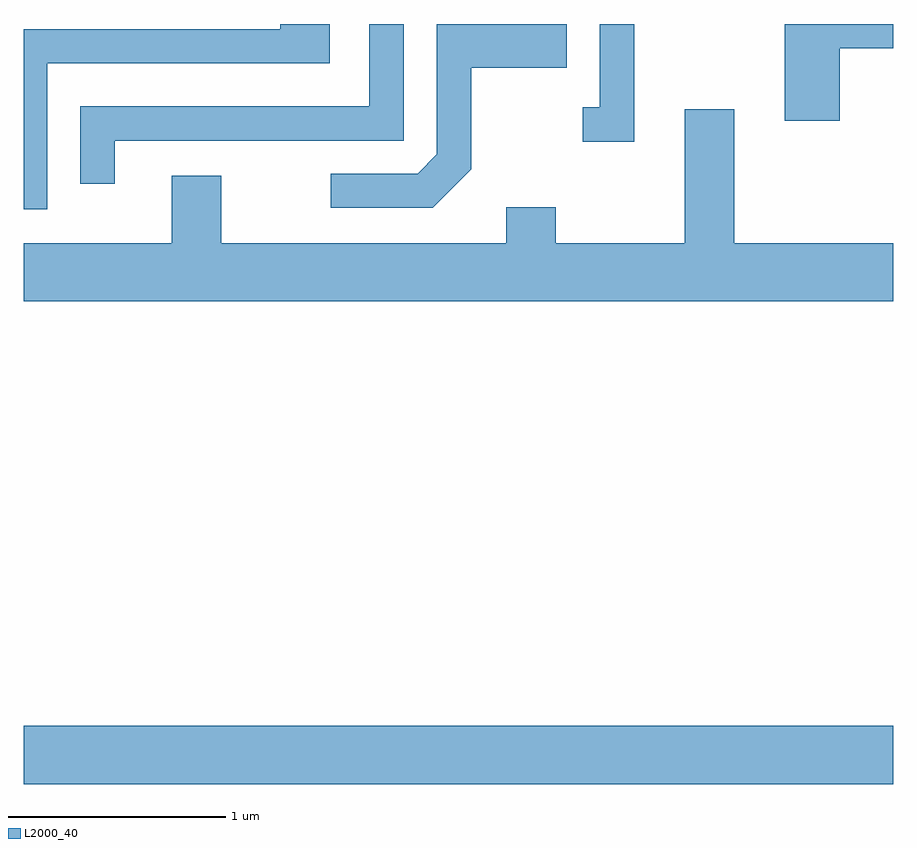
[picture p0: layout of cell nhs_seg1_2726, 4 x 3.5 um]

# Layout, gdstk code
import gdstk
lib = gdstk.Library(unit=1e-6, precision=1e-09)
def R(c, l, rs):  # rectangles x0, y0, x1, y1
    for r in rs: c.add(gdstk.rectangle(r[:2], r[2:], *l))
def P(c, l, *ps):  # polygons
    for p in ps: c.add(gdstk.Polygon(p, *l))
L2000_40 = (2000, 40)

nhs_seg1_2726 = lib.new_cell('nhs_seg1_2726')
R(nhs_seg1_2726, L2000_40, [(267.611,926.216,271.611,926.484)])
P(nhs_seg1_2726, L2000_40, [(267.719,929.531),(269.019,929.531),(269.019,929.712),(268.791,929.712),(268.791,929.689),(267.611,929.689),(267.611,928.861),(267.719,928.861)],
  [(271.364,929.601),(271.611,929.601),(271.611,929.712),(271.111,929.712),(271.111,929.266),(271.364,929.266)],
  [(269.669,929.044),(269.669,929.511),(270.109,929.511),(270.109,929.712),(269.511,929.712),(269.511,929.112),(269.424,929.024),(269.023,929.024),(269.023,928.866),(269.492,928.866)],
  [(270.419,929.712),(270.261,929.712),(270.261,929.329),(270.183,929.329),(270.183,929.171),(270.419,929.171)],
  [(268.029,929.176),(269.359,929.176),(269.359,929.712),(269.201,929.712),(269.201,929.334),(267.871,929.334),(267.871,928.978),(268.029,928.978)],
  [(271.611,928.704),(270.879,928.704),(270.879,929.319),(270.651,929.319),(270.651,928.704),(270.059,928.704),(270.059,928.869),(269.831,928.869),(269.831,928.704),(268.519,928.704),(268.519,929.014),(268.291,929.014),(268.291,928.704),(267.611,928.704),(267.611,928.436),(271.611,928.436)])

lib.write_gds('nhs_seg1_2726.gds')
